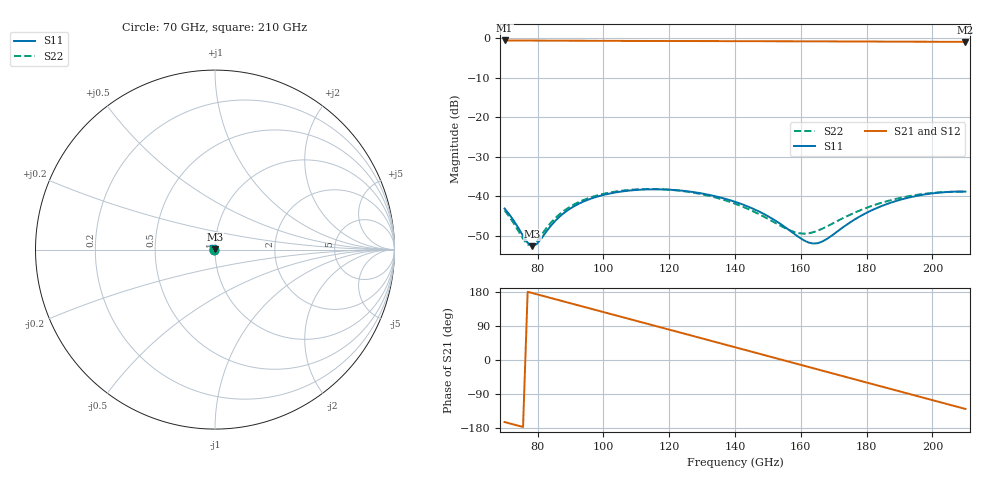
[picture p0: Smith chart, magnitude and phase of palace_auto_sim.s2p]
#  GHZ S DB R 50
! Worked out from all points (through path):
!   101 points, 70 GHz to 210 GHz, reference 50 ohm
!   highest |S21| = -0.61 dB at 70 GHz (marker M1); lowest = -1.0 dB at 210 GHz (marker M2)
!   group delay of S21, straight-line fit = 6.46 ps
!   lowest |S11| = -52.6 dB at 78.4 GHz (marker M3), VSWR 1.00, Z = 50 + j0.233 ohm
!   |S11| at or under -10 dB: start of sweep to end of sweep
!   |S22| runs from -52.4 to -38.2 dB; largest |S21 - S12| = 1.6e-13
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70  -43.10 177.5  -0.61 -163.8  -0.61 -163.8  -43.58 176.3
75.6  -50.01 134.2  -0.63 -176.8  -0.63 -176.8  -50.74 127.6
77  -51.78 113.1  -0.63 180.0  -0.63 180.0  -52.22 103.7
78.4  -52.63 86.6  -0.64 176.7  -0.64 176.7  -52.44 76.0
79.8  -52.07 60.1  -0.64 173.4  -0.64 173.4  -51.37 51.6
84  -47.51 12.8  -0.65 163.7  -0.65 163.7  -46.74 10.1
86.8  -45.09 -3.7  -0.66 157.2  -0.66 157.2  -44.47 -5.1
93.8  -41.41 -31.7  -0.68 140.9  -0.68 140.9  -41.01 -32.1
100.8  -39.52 -54.1  -0.71 124.7  -0.71 124.7  -39.25 -54.2
106.4  -38.71 -71.1  -0.72 111.7  -0.72 111.7  -38.52 -71.0
117.6  -38.27 -105.4  -0.74 85.8  -0.74 85.8  -38.23 -105.2
128.8  -39.14 -142.3  -0.76 59.7  -0.76 59.7  -39.32 -142.7
140  -41.40 176.6  -0.78 33.7  -0.78 33.7  -41.89 174.1
147  -43.74 147.2  -0.80 17.4  -0.80 17.4  -44.41 141.3
152.6  -46.34 119.2  -0.81 4.4  -0.81 4.4  -46.90 107.9
159.6  -50.46 69.2  -0.83 -11.9  -0.83 -11.9  -49.37 50.0
163.8  -51.96 23.9  -0.84 -21.7  -0.84 -21.7  -49.10 10.1
168  -50.76 -22.6  -0.85 -31.5  -0.85 -31.5  -47.61 -24.5
176.4  -45.86 -82.7  -0.87 -51.1  -0.87 -51.1  -44.14 -75.7
187.6  -41.56 -133.5  -0.90 -77.1  -0.90 -77.1  -40.93 -126.7
198.8  -39.40 -175.3  -0.94 -103.1  -0.94 -103.1  -39.27 -170.6
210  -38.82 146.9  -0.96 -129.1  -0.96 -129.1  -38.90 148.9
